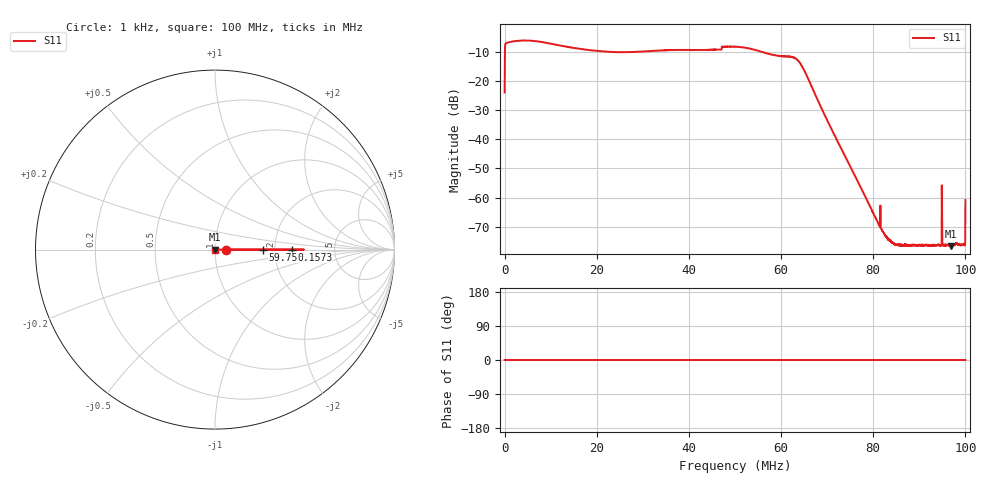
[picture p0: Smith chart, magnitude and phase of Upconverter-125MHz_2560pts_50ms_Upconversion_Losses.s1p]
! ListType=Lin
! Comment=Upconverter_125MHz_2560pts_50ms
# MHz S DB R 50
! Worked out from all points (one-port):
!   2560 points, 1 kHz to 100 MHz, reference 50 ohm
!   lowest |S11| = -76.7 dB at 96.91 MHz (marker M1), VSWR 1.00, Z = 50 + j0 ohm
!   |S11| at or under -10 dB: start of sweep to 75.71 kHz; 22.34 MHz to 29.01 MHz (6.671 MHz wide, 26 % of centre); 55.75 MHz to end of sweep
!   S11 on the Smith chart (normalised r, x): 1 kHz: 1.13, +0.00; 157.3 kHz: 2.50, +0.00; 59.75 MHz: 1.73, +0.00; 100 MHz: 1.00, +0.00
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0.001  -23.98 0.0
0.1573111  -7.37 0.0
0.5090109  -6.94 0.0
0.7434775  -6.84 0.0
5.393732  -6.20 0.0
12.50588  -7.99 0.0
25.01077  -10.14 0.0
37.51565  -9.37 0.0
46.62077  -9.22 0.0
50.02054  -8.25 0.0
59.7509  -11.49 0.0
62.52542  -11.84 0.0
63.69776  -13.03 0.0
64.90917  -16.08 0.0
68.46524  -28.38 0.0
75.03031  -49.40 0.0
80.8529  -68.07 0.0
82.84586  -73.48 0.0
84.95606  -76.13 0.0
87.53519  -76.37 0.0
94.3738  -76.34 0.0
94.45196  -76.31 0.0
94.56919  -76.57 0.0
95.35075  -76.11 0.0
95.50706  -76.34 0.0
96.91386  -76.68 0.0
99.49299  -76.21 0.0
100.001  -60.86 0.0
